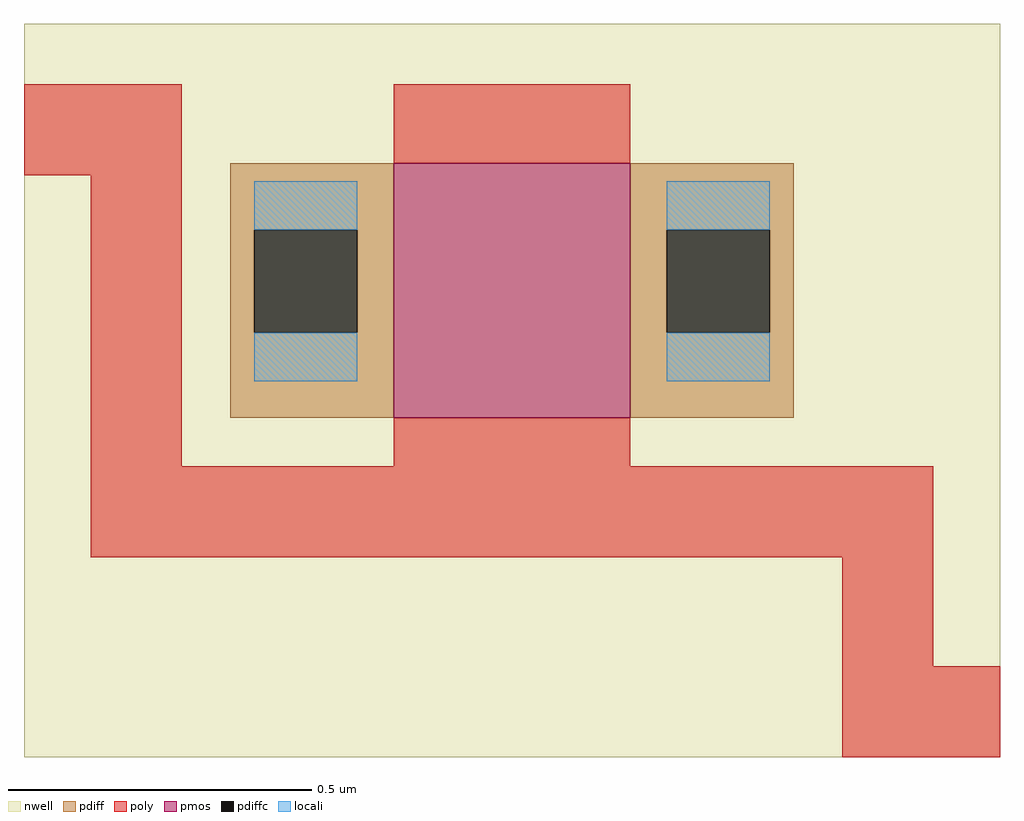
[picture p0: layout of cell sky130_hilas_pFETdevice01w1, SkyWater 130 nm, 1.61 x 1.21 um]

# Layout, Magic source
magic
tech sky130A
<< nwell >>
rect 0 0 161 121
<< pmos >>
rect 61 56 100 98
<< pdiff >>
rect 34 87 61 98
rect 34 70 38 87
rect 55 70 61 87
rect 34 56 61 70
rect 100 87 127 98
rect 100 70 106 87
rect 123 70 127 87
rect 100 56 127 70
<< pdiffc >>
rect 38 70 55 87
rect 106 70 123 87
<< poly >>
rect 0 96 26 111
rect 61 98 100 111
rect 11 48 26 96
rect 61 48 100 56
rect 11 33 150 48
rect 135 15 150 33
rect 135 0 161 15
<< locali >>
rect 38 87 55 95
rect 38 62 55 70
rect 106 87 123 95
rect 106 62 123 70
<< properties >>
string LEFsite unithd
string LEFclass CORE
string LEFsymmetry X Y R90
<< end >>
